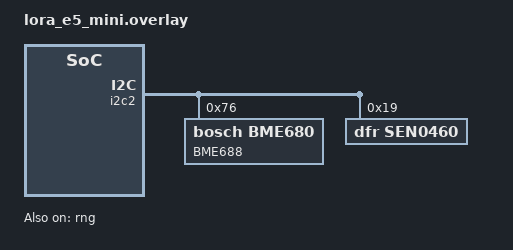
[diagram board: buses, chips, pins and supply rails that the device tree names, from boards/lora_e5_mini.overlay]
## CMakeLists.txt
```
# SPDX-License-Identifier: Apache-2.0

cmake_minimum_required(VERSION 3.20.0)

find_package(Zephyr REQUIRED HINTS $ENV{ZEPHYR_BASE})
project(outdoor_sensor_node VERSION 0.1.0)

target_sources(app PRIVATE src/main.c)
```

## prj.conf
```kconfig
# Outdoor sensor node application configuration.
# Targets Wio-E5 Mini (STM32WLE5JC) with BME688 sensor and LoRa TX.

CONFIG_ZBUS=y
CONFIG_ZBUS_CHANNEL_NAME=y
CONFIG_ZBUS_OBSERVER_NAME=y
CONFIG_ZBUS_RUNTIME_OBSERVERS=y

CONFIG_SHELL=y
CONFIG_SHELL_BACKEND_SERIAL=y

CONFIG_LOG=y
CONFIG_LOG_DEFAULT_LEVEL=3

CONFIG_SENSOR=y
CONFIG_SENSOR_EVENT=y
CONFIG_SENSOR_TRIGGER=y
CONFIG_SENSOR_REGISTRY=y
CONFIG_HW_SENSOR_UTILS=y
CONFIG_BME680=y
CONFIG_BME680_SENSOR=y

CONFIG_SEN0460_SENSOR=y
CONFIG_SENSOR_ASYNC_API=y

CONFIG_LORA=y
CONFIG_LORA_NODE=y
CONFIG_CONFIG_CMD=y
CONFIG_SENSOR_NODE_TX=y
CONFIG_LORA_NODE_DEFAULT_SF=10
CONFIG_LORA_NODE_DEFAULT_BW=125
CONFIG_LORA_NODE_DEFAULT_FREQ=868000000
CONFIG_LORA_NODE_TX_POWER=14
CONFIG_SENSOR_NODE_TX_INTERVAL_S=60

CONFIG_PSA_CRYPTO=y

CONFIG_FLASH=y
CONFIG_FLASH_MAP=y
CONFIG_NVS=y
CONFIG_SETTINGS=y
CONFIG_SETTINGS_NVS=y

CONFIG_COUNTER=y
CONFIG_RTC=y

CONFIG_GPIO=y
CONFIG_I2C=y

CONFIG_ENTROPY_GENERATOR=y
CONFIG_ENTROPY_STM32_RNG=y

CONFIG_CRYPTO=y
CONFIG_CRYPTO_STM32=y
```

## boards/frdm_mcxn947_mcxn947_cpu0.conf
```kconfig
# frdm_mcxn947 overrides for outdoor_sensor_node.
# Disables STM32-specific and Wio-E5 Mini hardware configs from prj.conf.
# Enables fake sensors for basic shell testing in Renode.

# Disable real BME680 driver (no BME688 on this board)
CONFIG_BME680=n

# Disable TX libraries that require real hardware
CONFIG_SENSOR_NODE_TX=n
CONFIG_LORA_NODE=n

# Disable STM32-specific hardware
CONFIG_ENTROPY_STM32_RNG=n
CONFIG_CRYPTO_STM32=n

# Disable NVS/settings persistence (minimal test)
CONFIG_NVS=n
CONFIG_SETTINGS_NVS=n

# Disable LoRa subsystem
CONFIG_LORA=n

# Disable PSA crypto (not needed for minimal test)
CONFIG_PSA_CRYPTO=n

# Disable crypto subsystem
CONFIG_CRYPTO=n

# Enable fake sensors for shell testing
CONFIG_ZBUS=y
CONFIG_ZBUS_CHANNEL_NAME=y
CONFIG_ZBUS_OBSERVER_NAME=y
CONFIG_ZBUS_RUNTIME_OBSERVERS=y
CONFIG_SENSOR_TRIGGER=y
CONFIG_SENSOR_EVENT=y
CONFIG_SENSOR_REGISTRY=y
CONFIG_FAKE_SENSORS=y
CONFIG_FAKE_SENSORS_SHELL=y
CONFIG_FAKE_SENSORS_AUTO_PUBLISH_MS=1000

# Enable shell and logging (inherited from prj.conf, explicit for clarity)
CONFIG_SHELL=y
CONFIG_SHELL_BACKEND_SERIAL=y
CONFIG_LOG=y
CONFIG_LOG_DEFAULT_LEVEL=3
```

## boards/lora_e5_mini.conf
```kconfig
# Hardware-specific config for lora_e5_mini (STM32WLE5JC).
# Enables BME680 sensor library and power management.

CONFIG_BME680_SENSOR=y
# BME680 driver needs I2C_DT_IODEV_DEFINE (only built with I2C_RTIO) when
# CONFIG_SENSOR_ASYNC_API is enabled, which prj.conf sets for SEN0460.
CONFIG_I2C_RTIO=y
CONFIG_PM_DEVICE=y
CONFIG_PM=y
```

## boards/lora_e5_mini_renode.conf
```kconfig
# Renode-specific overrides for outdoor_sensor_node.
# Disables hardware-dependent features that are not modeled in Renode,
# keeping only what's needed for boot verification and shell testing.

CONFIG_BME680=n
CONFIG_LORA=n
CONFIG_LORA_NODE=n
CONFIG_SENSOR_NODE_TX=n
CONFIG_PSA_CRYPTO=n
CONFIG_CRYPTO=n
CONFIG_CRYPTO_STM32=n
CONFIG_ENTROPY_GENERATOR=n
CONFIG_ENTROPY_STM32_RNG=n
CONFIG_I2C=n
CONFIG_GPIO=n
CONFIG_COUNTER=n
CONFIG_RTC=n
CONFIG_NVS=n
CONFIG_SETTINGS=n
CONFIG_SETTINGS_NVS=n
CONFIG_FLASH=n
CONFIG_FLASH_MAP=n
```

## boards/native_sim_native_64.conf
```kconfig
# native_sim overrides for outdoor_sensor_node.
# Disables STM32-specific and real-hardware configs from prj.conf.
# The app compiles on native_sim with hardware libraries disabled;
# full runtime testing uses Renode on the target SoC.

# Disable real BME680 driver (no fake driver available)
CONFIG_BME680=n

# Enable SEN0460 sensor
CONFIG_SEN0460_SENSOR=y
CONFIG_SENSOR_ASYNC_API=y

# Disable TX libraries that require real hardware
CONFIG_SENSOR_NODE_TX=n
CONFIG_LORA_NODE=n

# Disable STM32-specific hardware
CONFIG_ENTROPY_STM32_RNG=n
CONFIG_CRYPTO_STM32=n

# Disable NVS/settings persistence (not needed for simulation)
CONFIG_NVS=n
CONFIG_SETTINGS_NVS=n
CONFIG_SETTINGS=y

# Disable LoRa subsystem (no fake LoRa driver in this build)
CONFIG_LORA=n

# Disable PSA crypto (requires hardware entropy)
CONFIG_PSA_CRYPTO=n

# Disable crypto subsystem
CONFIG_CRYPTO=n
```

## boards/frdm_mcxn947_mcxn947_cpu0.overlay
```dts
/*
 * SPDX-License-Identifier: Apache-2.0
 *
 * Outdoor sensor node DT overlay for frdm_mcxn947 (Renode simulation).
 * Provides fake sensors for basic shell testing.
 */

/ {
	fake_temp: fake-temp {
		compatible = "fake,temperature";
		sensor-uid = <0x0101>;
		initial-value-mdegc = <22000>;
		status = "okay";
	};

	fake_hum: fake-humidity {
		compatible = "fake,humidity";
		sensor-uid = <0x0102>;
		initial-value-mpct = <55000>;
		status = "okay";
	};
};
```

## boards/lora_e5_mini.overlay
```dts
/*
 * SPDX-License-Identifier: Apache-2.0
 *
 * Outdoor sensor node overlay for lora_e5_mini.
 *
 * Adds BME688 sensor and SEN0460 PM2.5 sensor on I2C2 bus.
 */

&i2c2 {
	bme688@76 {
		compatible = "bosch,bme680";
		reg = <0x76>;
		label = "BME688";
	};

	sen0460@19 {
		compatible = "dfr,sen0460";
		reg = <0x19>;
		label = "SEN0460";
	};
};

&rng {
	status = "okay";
};
```

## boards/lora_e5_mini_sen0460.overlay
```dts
/*
 * SPDX-License-Identifier: Apache-2.0
 *
 * SEN0460 PM2.5 sensor overlay for lora_e5_mini.
 *
 * Adds SEN0460 air quality sensor on I2C2 bus (address 0x19).
 */

&i2c2 {
	sen0460@19 {
		compatible = "dfr,sen0460";
		reg = <0x19>;
		label = "SEN0460";
	};
};
```

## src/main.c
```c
/* SPDX-License-Identifier: Apache-2.0 */
/**
 * @file main.c (outdoor_sensor_node)
 *
 * Outdoor sensor node for the Wio-E5 Mini (STM32WLE5JC).
 *
 * Reads BME688 sensor via I2C, encodes readings in compact 5-byte wire
 * format (1B sensor_type + 4B q31_value), and transmits via LoRa P2P
 * to the gateway. Sleeps between measurement cycles.
 *
 * Per ADR-008 RULE 4: main.c registers the log module and sleeps forever.
 * All application logic is initialized via SYS_INIT callbacks.
 */

#include <zephyr/kernel.h>
#include <zephyr/logging/log.h>

LOG_MODULE_REGISTER(outdoor_sensor_node, LOG_LEVEL_INF);

int main(void)
{
	LOG_INF("weather-station outdoor_sensor_node v0.1.0");
	k_sleep(K_FOREVER);
	return 0;
}
```
